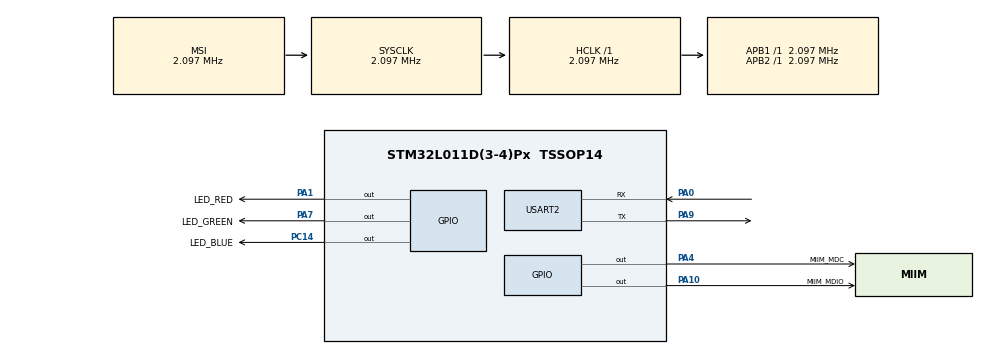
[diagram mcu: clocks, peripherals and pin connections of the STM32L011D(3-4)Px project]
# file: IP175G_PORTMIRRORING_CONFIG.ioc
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Mcu.Family=STM32L0
Mcu.Name=STM32L011D(3-4)Px
Mcu.Package=TSSOP14
NVIC.USART2_IRQn=true\:0\:0\:false\:false\:true\:true\:true
PA0-CK_IN.Mode=Asynchronous
PA0-CK_IN.Signal=USART2_RX
PA1.GPIO_Label=LED_RED
PA1.Signal=GPIO_Output
PA10.GPIO_Label=MIIM_MDIO
PA10.Signal=GPIO_Output
PA13.Mode=Serial_Wire
PA13.Signal=SYS_SWDIO
PA14.Mode=Serial_Wire
PA14.Signal=SYS_SWCLK
PA4.GPIO_Label=MIIM_MDC
PA4.Signal=GPIO_Output
PA7.GPIO_Label=LED_GREEN
PA7.Signal=GPIO_Output
PA9.Mode=Asynchronous
PA9.Signal=USART2_TX
PC14-OSC32_IN.GPIO_Label=LED_BLUE
PC14-OSC32_IN.Signal=GPIO_Output
ProjectManager.HeapSize=0x200
ProjectManager.StackSize=0x400
ProjectManager.TargetToolchain=STM32CubeIDE
RCC.AHBFreq_Value=2097000
RCC.APB1Freq_Value=2097000
RCC.APB1TimFreq_Value=2097000
RCC.APB2Freq_Value=2097000
RCC.APB2TimFreq_Value=2097000
RCC.HSE_VALUE=8000000
RCC.HSI16_VALUE=16000000
RCC.HSI_VALUE=16000000
RCC.LSE_VALUE=32768
RCC.MSI_VALUE=2097000
RCC.SYSCLKFreq_VALUE=2097000
RCC.VCOOutputFreq_Value=48000000
USART2.VirtualMode-Asynchronous=VM_ASYNC
board=custom

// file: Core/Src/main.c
/* USER CODE BEGIN Header */
/**
  ******************************************************************************
  * @file           : main.c
  * @brief          : Main program body
  ******************************************************************************
  * @attention
  *
  * <h2><center>&copy; Copyright (c) 2020 STMicroelectronics.
  * All rights reserved.</center></h2>
  *
  * This software component is licensed by ST under BSD 3-Clause license,
  * the "License"; You may not use this file except in compliance with the
  * License. You may obtain a copy of the License at:
  *                        opensource.org/licenses/BSD-3-Clause
  *
  ******************************************************************************
  */
/* USER CODE END Header */

#include "main.h"

UART_HandleTypeDef huart2;

void SystemClock_Config(void);
static void MX_GPIO_Init(void);
static void MX_USART2_UART_Init(void);

/* USER CODE BEGIN 0 */

void GPIO_SET_MDIO_MODE_INPUT() {
	// Set MIDO pin to it's default status with HAL_GPIO_DeInit
	HAL_GPIO_DeInit(MIIM_MDIO_GPIO_Port, MIIM_MDIO_Pin);

	GPIO_InitTypeDef GPIO_InitStruct = {0};

	/* GPIO Ports Clock Enable */
	__HAL_RCC_GPIOC_CLK_ENABLE();
 	__HAL_RCC_GPIOA_CLK_ENABLE();

	  /*Configure GPIO pin Output Level */
	  HAL_GPIO_WritePin(LED_BLUE_GPIO_Port, LED_BLUE_Pin, GPIO_PIN_RESET);

	  /*Configure GPIO pin Output Level */
	  HAL_GPIO_WritePin(GPIOA, LED_RED_Pin|MIIM_MDC_Pin|LED_GREEN_Pin, GPIO_PIN_RESET);

	  /*Configure GPIO pin : LED_BLUE_Pin */
	  GPIO_InitStruct.Pin = LED_BLUE_Pin;
	  GPIO_InitStruct.Mode = GPIO_MODE_OUTPUT_PP;
	  GPIO_InitStruct.Pull = GPIO_NOPULL;
	  GPIO_InitStruct.Speed = GPIO_SPEED_FREQ_LOW;
	  HAL_GPIO_Init(LED_BLUE_GPIO_Port, &GPIO_InitStruct);

	  /*Configure GPIO pins : LED_RED_Pin MIIM_MDC_Pin LED_GREEN_Pin */
	  GPIO_InitStruct.Pin = LED_RED_Pin|MIIM_MDC_Pin|LED_GREEN_Pin;
	  GPIO_InitStruct.Mode = GPIO_MODE_OUTPUT_PP;
	  GPIO_InitStruct.Pull = GPIO_NOPULL;
	  GPIO_InitStruct.Speed = GPIO_SPEED_FREQ_LOW;
	  HAL_GPIO_Init(GPIOA, &GPIO_InitStruct);

	  /*Configure GPIO pin : MIIM_MDIO_Pin */
	  GPIO_InitStruct.Pin = MIIM_MDIO_Pin;
	  GPIO_InitStruct.Mode = GPIO_MODE_INPUT;
	  GPIO_InitStruct.Pull = GPIO_NOPULL;
	  HAL_GPIO_Init(MIIM_MDIO_GPIO_Port, &GPIO_InitStruct);

}

void GPIO_SET_MDIO_MDC_MODE_INPUT() {
	// Set MIDO pin to it's default status with HAL_GPIO_DeInit
	HAL_GPIO_DeInit(MIIM_MDIO_GPIO_Port, MIIM_MDIO_Pin);

	// Set MDC pin to its default status with HAL_GPIO_Deinit
	HAL_GPIO_DeInit(MIIM_MDC_GPIO_Port, MIIM_MDC_Pin);

	GPIO_InitTypeDef GPIO_InitStruct = {0};

	/* GPIO Ports Clock Enable */
	__HAL_RCC_GPIOC_CLK_ENABLE();
 	__HAL_RCC_GPIOA_CLK_ENABLE();

	  /*Configure GPIO pin Output Level */
	  HAL_GPIO_WritePin(LED_BLUE_GPIO_Port, LED_BLUE_Pin, GPIO_PIN_RESET);

	  /*Configure GPIO pin Output Level */
	  HAL_GPIO_WritePin(GPIOA, LED_RED_Pin|LED_GREEN_Pin, GPIO_PIN_RESET);

	  /*Configure GPIO pin : LED_BLUE_Pin */
	  GPIO_InitStruct.Pin = LED_BLUE_Pin;
	  GPIO_InitStruct.Mode = GPIO_MODE_OUTPUT_PP;
	  GPIO_InitStruct.Pull = GPIO_NOPULL;
	  GPIO_InitStruct.Speed = GPIO_SPEED_FREQ_LOW;
	  HAL_GPIO_Init(LED_BLUE_GPIO_Port, &GPIO_InitStruct);

	  /*Configure GPIO pins : LED_RED_Pin MIIM_MDC_Pin LED_GREEN_Pin */
	  GPIO_InitStruct.Pin = LED_RED_Pin|LED_GREEN_Pin;
	  GPIO_InitStruct.Mode = GPIO_MODE_OUTPUT_PP;
	  GPIO_InitStruct.Pull = GPIO_NOPULL;
	  GPIO_InitStruct.Speed = GPIO_SPEED_FREQ_LOW;
	  HAL_GPIO_Init(GPIOA, &GPIO_InitStruct);

	  /*Configure GPIO pin : MIIM_MDIO_Pin */
	  GPIO_InitStruct.Pin = MIIM_MDIO_Pin;
	  GPIO_InitStruct.Mode = GPIO_MODE_INPUT;
	  GPIO_InitStruct.Pull = GPIO_NOPULL;
	  HAL_GPIO_Init(MIIM_MDIO_GPIO_Port, &GPIO_InitStruct);

	  /*Configure GPIO pin : MIIM_MDC_Pin */
	  GPIO_InitStruct.Pin = MIIM_MDC_Pin;
	  GPIO_InitStruct.Mode = GPIO_MODE_INPUT;
	  GPIO_InitStruct.Pull = GPIO_NOPULL;
	  HAL_GPIO_Init(MIIM_MDC_GPIO_Port, &GPIO_InitStruct);

}

void _MIIM_DRIVER_CLOCK_PULSE() {
	HAL_GPIO_WritePin(GPIOA, MIIM_MDC_Pin, GPIO_PIN_RESET);
	HAL_Delay(2);
	HAL_GPIO_WritePin(GPIOA, MIIM_MDC_Pin, GPIO_PIN_SET);
	HAL_Delay(2);
}

void _MIIM_DRIVER_START() {
	// Preamble
	//HAL_GPIO_WritePin(GPIOA, MIIM_MDIO_Pin, GPIO_PIN_SET);

	for (uint8_t i=0; i<5; ++i) {
		_MIIM_DRIVER_CLOCK_PULSE();
	}

	// Start clock
	HAL_GPIO_WritePin(GPIOA, MIIM_MDIO_Pin, GPIO_PIN_RESET);
	_MIIM_DRIVER_CLOCK_PULSE();
	HAL_GPIO_WritePin(GPIOA, MIIM_MDIO_Pin, GPIO_PIN_SET);
	_MIIM_DRIVER_CLOCK_PULSE();
}

void _MIIM_DRIVER_OP_CODE_READ() {
	// Data = 0b10
	HAL_GPIO_WritePin(GPIOA, MIIM_MDIO_Pin, GPIO_PIN_SET);
	_MIIM_DRIVER_CLOCK_PULSE();
	HAL_GPIO_WritePin(GPIOA, MIIM_MDIO_Pin, GPIO_PIN_RESET);
	_MIIM_DRIVER_CLOCK_PULSE();
}

void _MIIM_DRIVER_OP_CODE_WRITE() {
	// Data = 0b01
	HAL_GPIO_WritePin(GPIOA, MIIM_MDIO_Pin, GPIO_PIN_RESET);
	_MIIM_DRIVER_CLOCK_PULSE();
	HAL_GPIO_WritePin(GPIOA, MIIM_MDIO_Pin, GPIO_PIN_SET);
	_MIIM_DRIVER_CLOCK_PULSE();
}

void _MIIM_DRIVER_PHY_REG_OUTPUT(uint8_t PHY, uint8_t REG) {
	// Send the PHY address first
	for (uint8_t bitnum = 0; bitnum <= 4; ++bitnum) {
		if ((PHY & (1 << (4-bitnum))) == 0) {
			HAL_GPIO_WritePin(GPIOA, MIIM_MDIO_Pin, GPIO_PIN_RESET);
		} else {
			HAL_GPIO_WritePin(GPIOA, MIIM_MDIO_Pin, GPIO_PIN_SET);
		}
		_MIIM_DRIVER_CLOCK_PULSE();
	}

	// Send the REG address first
	for (uint8_t bitnum = 0; bitnum <= 4; ++bitnum) {
		if ((REG & (1 << (4-bitnum))) == 0) {
			HAL_GPIO_WritePin(GPIOA, MIIM_MDIO_Pin, GPIO_PIN_RESET);
		} else {
			HAL_GPIO_WritePin(GPIOA, MIIM_MDIO_Pin, GPIO_PIN_SET);
		}
		_MIIM_DRIVER_CLOCK_PULSE();
	}
}

void _MIIM_DRIVER_TA_WRITE() {
	// The Turnaround bits for write are the same as the op code
	_MIIM_DRIVER_OP_CODE_READ();
}

void _MIIM_DRIVER_TA_READ() {
	// The TA bits for read
	GPIO_SET_MDIO_MODE_INPUT();
	_MIIM_DRIVER_CLOCK_PULSE();
	MX_GPIO_Init();
	HAL_GPIO_WritePin(GPIOA, MIIM_MDIO_Pin, GPIO_PIN_RESET);
	_MIIM_DRIVER_CLOCK_PULSE();
}

void _MIIM_DRIVER_WRITE_DATA(uint16_t data) {
	for (uint8_t bitnum = 0; bitnum <= 15; ++bitnum) {
		if ((data & (1<<(15-bitnum))) == 0) {
			HAL_GPIO_WritePin(GPIOA, MIIM_MDIO_Pin, GPIO_PIN_RESET);
		} else {
			HAL_GPIO_WritePin(GPIOA, MIIM_MDIO_Pin, GPIO_PIN_SET);
		}
		_MIIM_DRIVER_CLOCK_PULSE();
	}
	// reset clock and data
	HAL_GPIO_WritePin(GPIOA, MIIM_MDIO_Pin, GPIO_PIN_SET);
	HAL_GPIO_WritePin(GPIOA, MIIM_MDC_Pin, GPIO_PIN_RESET);
	// final clock pulse afterwards?
}

uint16_t _MIIM_DRIVER_READ_DATA() {
	GPIO_SET_MDIO_MODE_INPUT();
	uint16_t data = 0;
	for (uint8_t bitnum = 0; bitnum <= 15; ++bitnum) {
		data = data + (HAL_GPIO_ReadPin(GPIOA, MIIM_MDIO_Pin) << (15-bitnum));
		_MIIM_DRIVER_CLOCK_PULSE();
	}

	MX_GPIO_Init();
	// Reset clock and data
	HAL_GPIO_WritePin(GPIOA, MIIM_MDIO_Pin, GPIO_PIN_SET);
	HAL_GPIO_WritePin(GPIOA, MIIM_MDC_Pin, GPIO_PIN_RESET);
	return data;
}

// Define MIIM bit banging functions here
void MIIM_DRIVER_WRITE(uint8_t PHY, uint8_t REG, uint16_t DATA) {
	/*
    Outputs the PHY and REG addresses to the ethernet chip. Writes 2 byte data packet
    to the ethernet chip for that PHY/REG address.
    Parameters:
        PHY (uint8_t):The data to be sent via the MIIM_MDIO pin
        			  values range from 0b00000000-0b00011111
        			  address corresponds to phy address
        REG (uint8_t):The data to be sent via the MIIM_MDIO pin
        			  values range from 0b00000000-0b00011111
        			  address corresponds to reg address
       	DATA (uint16_t): The data to be send to the PHY register
    Returns:
        void
    */
	// Write the preamble + start code
	_MIIM_DRIVER_START();

	// op code
	_MIIM_DRIVER_OP_CODE_WRITE();

	// write PHY and REG
	_MIIM_DRIVER_PHY_REG_OUTPUT(PHY, REG);

	// TA bits
	_MIIM_DRIVER_TA_WRITE();

	// write data
	_MIIM_DRIVER_WRITE_DATA(DATA);

}

uint16_t MIIM_DRIVER_READ(uint8_t PHY, uint8_t REG) {
	/*
	Reads 2 byte data packet from PHY and REG on ethernet chip.
	Parameters:
	    PHY (uint8_t):The data to be sent via the MIIM_MDIO pin
	        			  values range from 0b00000000-0b00011111
	        			  address corresponds to phy address
	    REG (uint8_t):The data to be sent via the MIIM_MDIO pin
	        			  values range from 0b00000000-0b00011111
	        			  address corresponds to reg address
	 Returns:
	    void
	*/
	// Preamble + start code
	_MIIM_DRIVER_START();

	// op code
	_MIIM_DRIVER_OP_CODE_READ();

	// write PHY and REG
	//uint8_t PHY = 0b11111;
	//uint8_t REG = 0b11010;
	_MIIM_DRIVER_PHY_REG_OUTPUT(PHY, REG);

	// TA bits
	_MIIM_DRIVER_TA_READ();

	// read data
	uint16_t data = _MIIM_DRIVER_READ_DATA();

	return data;
}

/* USER CODE END 0 */

int main(void)
{

  /* MCU Configuration--------------------------------------------------------*/

  /* Reset of all peripherals, Initializes the Flash interface and the Systick. */
  HAL_Init();

  /* Configure the system clock */
  SystemClock_Config();

  /* Initialize all configured peripherals */
  MX_GPIO_Init();
  MX_USART2_UART_Init();
  /* USER CODE BEGIN 2 */

  // Port mirroring settings
  // Please only configure headings marked with '***'
  // I strongly encourage that you have the data sheet for the IP175Gx to hand
  // If you spot a mistake or potential improvement (we already have lots of improvements in mind) - please let us know
  // We have currently configured the default settings to mirror RX traffic on port 3 (labelled port 4 on SwitchBlox) to port 2 (labelled port 3 on SwitchBlox)

  // (0) Declare and define PHY and REG variables,
  uint8_t PHY = 20;
  uint8_t REG3 = 3;
  uint8_t REG4 = 4;

  //***(1) Enable port mirroring by writing to 20.3[15] - PHY=20, REG = 3, bitnum = 15
  uint8_t PORT_MIRROR_EN = 0b1;

  //***(2) Select the port that will be the mirror or 'sniffing' port
  // The SwitchBlox currently has labelled Port X+1 (i.e. Port 0 -> Labelled Port 1 on SwitchBlox)
  // ^This may change on future revisions
  // Only select one port to be the mirror port
  // In order of 'SEL_MIRROR_PORT' declarations: (default: port 4)
  //(1) Port 0
  //(2) Port 1
  //(3) Port 2
  //(4) Port 3
  //(5) Port 4 (default)

  //uint8_t SEL_MIRROR_PORT = 0b010;
  //uint8_t SEL_MIRROR_PORT = 0b011;
  uint8_t SEL_MIRROR_PORT = 0b100;
  //uint8_t SEL_MIRROR_PORT = 0b110;
  //uint8_t SEL_MIRROR_PORT = 0b111;

  //***(3) Select the port mirroring mode
  // Set the conditions that traffic on the mirrored ports must fulfill for it to be mirrored to the sniffer port
  // In order of 'PORT_MIRROR_MODE' declarations: (default: mirror RX)
  //(1) mirror RX (default)
  //(2) mirror TX
  //(3) mirror RX and TX
  //(4) mirror RX or TX

  uint8_t PORT_MIRROR_MODE = 0b00;
  //uint8_t PORT_MIRROR_MODE = 0b01;
  //uint8_t PORT_MIRROR_MODE = 0b10;
  //uint8_t PORT_MIRROR_MODE = 0b11;

  //***(4a) Select the RX source port that will have its RX data flow mirrored to the sniffer port
  // In order of 'SEL_RX_PORT_MIRROR' declarations: (default: None)
  //(1) port 0
  //(2) port 1
  //(3) port 2
  //(4) port 3
  //(5) port 4

  //uint8_t SEL_RX_PORT_MIRROR = 0b00000100;
  //uint8_t SEL_RX_PORT_MIRROR = 0b00001000;
  //uint8_t SEL_RX_PORT_MIRROR = 0b00010000;
  uint8_t SEL_RX_PORT_MIRROR = 0b01000000;
  //uint8_t SEL_RX_PORT_MIRROR = 0b10000000;

  //***(4b) Select the TX source port that will have its TX data flow mirrored to the sniffer port
  // Must configure 'PORT_MIRROR_MODE' to include mirroring TX
  // In order of 'SEL_TX_PORT_MIRROR' declarations: (default: None)
  //(1) port 0
  //(2) port 1
  //(3) port 2
  //(4) port 3
  //(5) port 4

  //uint8_t SEL_TX_PORT_MIRROR = 0b00000100;
  //uint8_t SEL_TX_PORT_MIRROR = 0b00001000;
  //uint8_t SEL_TX_PORT_MIRROR = 0b00010000;
  //uint8_t SEL_TX_PORT_MIRROR = 0b01000000;
  uint8_t SEL_TX_PORT_MIRROR = 0b10000000;

  // (5) Create the data packet to send to 20.3/20.4 PHY.REG
  uint16_t PORT_MIRROR_CONFIG_REG3 = (((uint16_t) PORT_MIRROR_EN) << 15) | (((uint16_t) PORT_MIRROR_MODE) << 13) | (SEL_RX_PORT_MIRROR);
  uint16_t PORT_MIRROR_CONFIG_REG4 = (((uint16_t) SEL_MIRROR_PORT << 13) | (SEL_TX_PORT_MIRROR));

  // (6) Execute the command to write the configurations for port mirroring
  // For some reason, writing only once doesn't work all the time (if you find a solution, please publish an issue to https://github.com/AaronElijah/IP175GPortMirroringConfig
  for (uint8_t j = 0; j <= 10; j++) {
   HAL_Delay(5);
   MIIM_DRIVER_WRITE(PHY, REG3, PORT_MIRROR_CONFIG_REG3);
   HAL_Delay(5);
   MIIM_DRIVER_WRITE(PHY, REG4, PORT_MIRROR_CONFIG_REG4);
  }

  GPIO_SET_MDIO_MDC_MODE_INPUT();

  // Set the colour of the LED purple
  HAL_GPIO_WritePin(GPIOA, LED_GREEN_Pin, GPIO_PIN_SET);
  HAL_GPIO_WritePin(GPIOA, LED_RED_Pin, GPIO_PIN_RESET);
  HAL_GPIO_WritePin(LED_BLUE_GPIO_Port, LED_BLUE_Pin, GPIO_PIN_RESET);

  /* USER CODE END 2 */

  /* Infinite loop */
  while (1)
  {

  }
}

void SystemClock_Config(void)
{
  RCC_OscInitTypeDef RCC_OscInitStruct = {0};
  RCC_ClkInitTypeDef RCC_ClkInitStruct = {0};
  RCC_PeriphCLKInitTypeDef PeriphClkInit = {0};

  /** Configure the main internal regulator output voltage
  */
  __HAL_PWR_VOLTAGESCALING_CONFIG(PWR_REGULATOR_VOLTAGE_SCALE1);
  /** Initializes the CPU, AHB and APB busses clocks
  */
  RCC_OscInitStruct.OscillatorType = RCC_OSCILLATORTYPE_MSI;
  RCC_OscInitStruct.MSIState = RCC_MSI_ON;
  RCC_OscInitStruct.MSICalibrationValue = 0;
  RCC_OscInitStruct.MSIClockRange = RCC_MSIRANGE_5;
  RCC_OscInitStruct.PLL.PLLState = RCC_PLL_NONE;
  if (HAL_RCC_OscConfig(&RCC_OscInitStruct) != HAL_OK)
  {
    Error_Handler();
  }
  /** Initializes the CPU, AHB and APB busses clocks
  */
  RCC_ClkInitStruct.ClockType = RCC_CLOCKTYPE_HCLK|RCC_CLOCKTYPE_SYSCLK
                              |RCC_CLOCKTYPE_PCLK1|RCC_CLOCKTYPE_PCLK2;
  RCC_ClkInitStruct.SYSCLKSource = RCC_SYSCLKSOURCE_MSI;
  RCC_ClkInitStruct.AHBCLKDivider = RCC_SYSCLK_DIV1;
  RCC_ClkInitStruct.APB1CLKDivider = RCC_HCLK_DIV1;
  RCC_ClkInitStruct.APB2CLKDivider = RCC_HCLK_DIV1;

  if (HAL_RCC_ClockConfig(&RCC_ClkInitStruct, FLASH_LATENCY_0) != HAL_OK)
  {
    Error_Handler();
  }
  PeriphClkInit.PeriphClockSelection = RCC_PERIPHCLK_USART2;
  PeriphClkInit.Usart2ClockSelection = RCC_USART2CLKSOURCE_PCLK1;
  if (HAL_RCCEx_PeriphCLKConfig(&PeriphClkInit) != HAL_OK)
  {
    Error_Handler();
  }
}

static void MX_USART2_UART_Init(void)
{

  huart2.Instance = USART2;
  huart2.Init.BaudRate = 115200;
  huart2.Init.WordLength = UART_WORDLENGTH_8B;
  huart2.Init.StopBits = UART_STOPBITS_1;
  huart2.Init.Parity = UART_PARITY_NONE;
  huart2.Init.Mode = UART_MODE_TX_RX;
  huart2.Init.HwFlowCtl = UART_HWCONTROL_NONE;
  huart2.Init.OverSampling = UART_OVERSAMPLING_16;
  huart2.Init.OneBitSampling = UART_ONE_BIT_SAMPLE_DISABLE;
  huart2.AdvancedInit.AdvFeatureInit = UART_ADVFEATURE_NO_INIT;
  if (HAL_UART_Init(&huart2) != HAL_OK)
  {
    Error_Handler();
  }

}

static void MX_GPIO_Init(void)
{
  GPIO_InitTypeDef GPIO_InitStruct = {0};

  /* GPIO Ports Clock Enable */
  __HAL_RCC_GPIOC_CLK_ENABLE();
  __HAL_RCC_GPIOA_CLK_ENABLE();

  /*Configure GPIO pin Output Level */
  HAL_GPIO_WritePin(LED_BLUE_GPIO_Port, LED_BLUE_Pin, GPIO_PIN_RESET);

  /*Configure GPIO pin Output Level */
  HAL_GPIO_WritePin(GPIOA, LED_RED_Pin|MIIM_MDC_Pin|LED_GREEN_Pin|MIIM_MDIO_Pin, GPIO_PIN_RESET);

  /*Configure GPIO pin : LED_BLUE_Pin */
  GPIO_InitStruct.Pin = LED_BLUE_Pin;
  GPIO_InitStruct.Mode = GPIO_MODE_OUTPUT_PP;
  GPIO_InitStruct.Pull = GPIO_NOPULL;
  GPIO_InitStruct.Speed = GPIO_SPEED_FREQ_LOW;
  HAL_GPIO_Init(LED_BLUE_GPIO_Port, &GPIO_InitStruct);

  /*Configure GPIO pins : LED_RED_Pin MIIM_MDC_Pin LED_GREEN_Pin MIIM_MDIO_Pin */
  GPIO_InitStruct.Pin = LED_RED_Pin|MIIM_MDC_Pin|LED_GREEN_Pin|MIIM_MDIO_Pin;
  GPIO_InitStruct.Mode = GPIO_MODE_OUTPUT_PP;
  GPIO_InitStruct.Pull = GPIO_NOPULL;
  GPIO_InitStruct.Speed = GPIO_SPEED_FREQ_LOW;
  HAL_GPIO_Init(GPIOA, &GPIO_InitStruct);

}

void Error_Handler(void)
{
}

/************************ (C) COPYRIGHT STMicroelectronics *****END OF FILE****/
